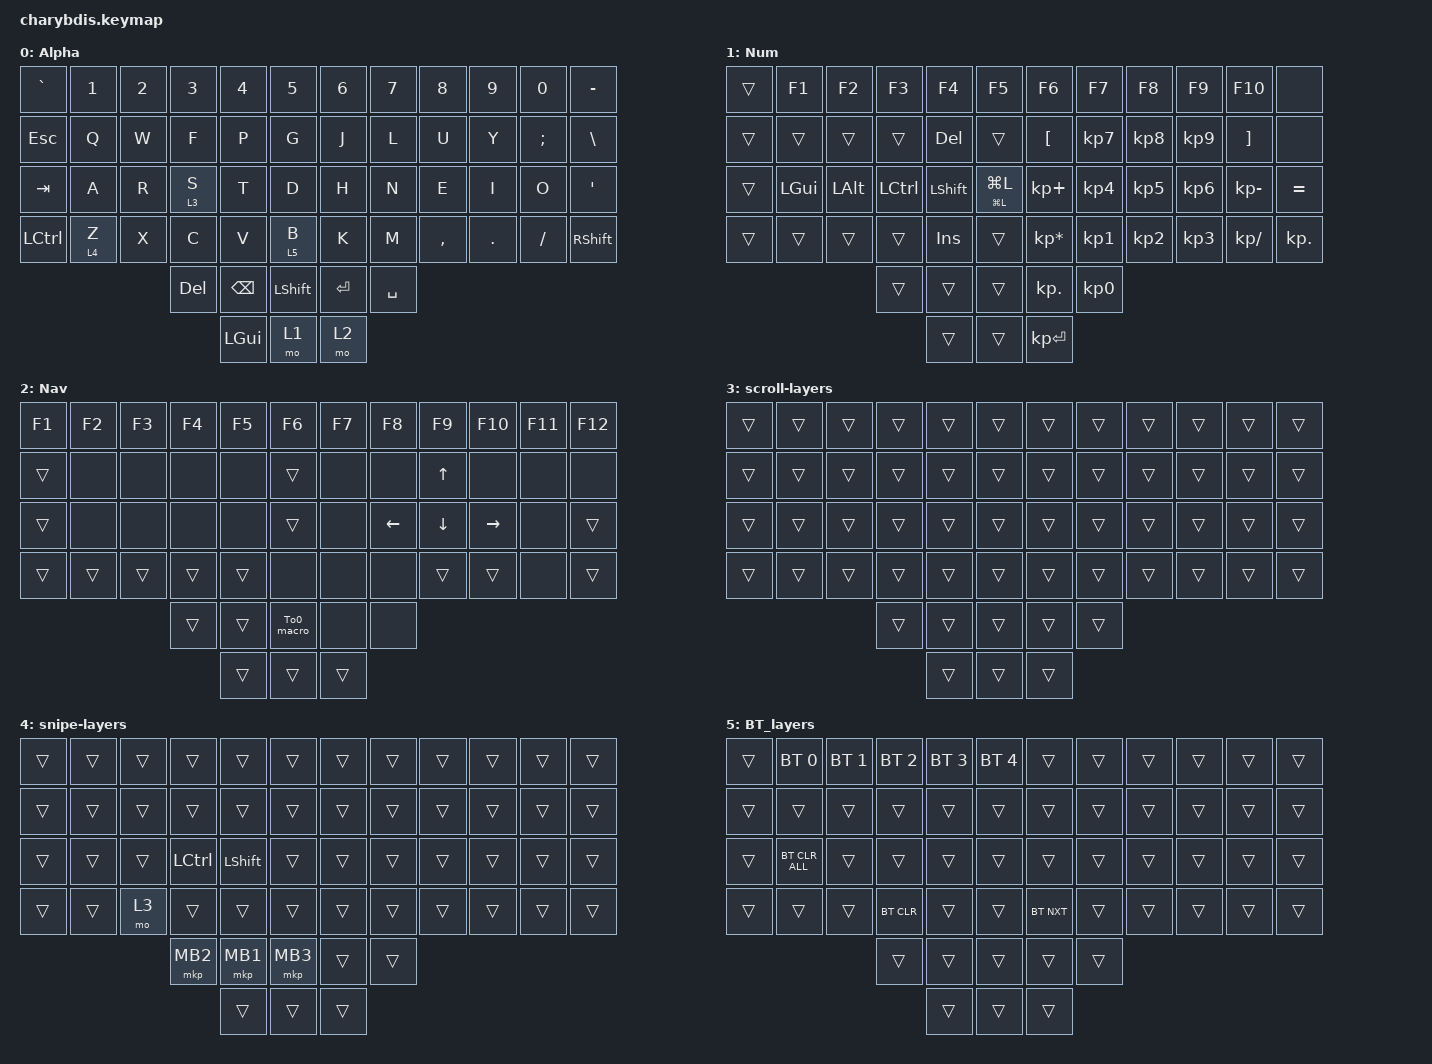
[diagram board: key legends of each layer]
#include <behaviors.dtsi>
#include <dt-bindings/zmk/bt.h>
#include <dt-bindings/zmk/keys.h>
#include <dt-bindings/zmk/pointing.h>
#include <dt-bindings/zmk/rgb.h>

&lt {
    tapping-term-ms = <200>;
    flavor = "balanced";
    quick-tap-ms = <150>;
};

/ {
    macros {
        To1_macro: To1_macro {
            compatible = "zmk,behavior-macro";
            label = "To1_macro";
            #binding-cells = <0>;
            bindings = <&rgb_ug RGB_EFF &rgb_ug RGB_COLOR_HSB(128,100,50) &to 2>;
        };

        To0_macro: To0_macro {
            compatible = "zmk,behavior-macro";
            label = "To0_macro";
            #binding-cells = <0>;
            bindings = <&rgb_ug RGB_EFR &to 0>;
        };

        To2_macro: To2_macro {
            compatible = "zmk,behavior-macro";
            label = "To2_macro";
            #binding-cells = <0>;
            bindings =
                <&to 5>,
                <&macro_wait_time 30>,
                <&rgb_ug RGB_COLOR_HSB(250,100,50)>;
        };
    };

    keymap {
        compatible = "zmk,keymap";

        Alpha {
            bindings = <
&kp GRAVE  &kp N1   &kp N2  &kp N3   &kp N4         &kp N5            &kp N6     &kp N7     &kp N8     &kp N9   &kp N0         &kp MINUS
&kp ESC    &kp Q    &kp W   &kp F    &kp P          &kp G             &kp J      &kp L      &kp U      &kp Y    &kp SEMICOLON  &kp BSLH
&kp TAB    &kp A    &kp R   &lt 3 S  &kp T          &kp D             &kp H      &kp N      &kp E      &kp I    &kp O          &kp APOS
&kp LCTRL  &lt 4 Z  &kp X   &kp C    &kp V          &lt 5 B           &kp K      &kp M      &kp COMMA  &kp DOT  &kp FSLH       &kp RIGHT_SHIFT
                            &kp DEL  &kp BACKSPACE  &kp LEFT_SHIFT    &kp ENTER  &kp SPACE
                                     &kp LEFT_GUI   &mo 1             &mo 2
            >;
        };

        Num {
            bindings = <
&trans  &kp F1        &kp F2        &kp F3     &kp F4          &kp F5             &kp F6            &kp F7           &kp F8           &kp F9           &kp F10            &none
&trans  &trans        &trans        &trans     &kp DELETE      &trans             &kp LEFT_BRACKET  &kp KP_NUMBER_7  &kp KP_NUMBER_8  &kp KP_NUMBER_9  &kp RIGHT_BRACKET  &none
&trans  &kp LEFT_GUI  &kp LEFT_ALT  &kp LCTRL  &kp LEFT_SHIFT  &mt LG(L) LG(L)    &kp KP_PLUS       &kp KP_NUMBER_4  &kp KP_NUMBER_5  &kp KP_NUMBER_6  &kp KP_MINUS       &kp EQUAL
&trans  &trans        &trans        &trans     &kp INSERT      &trans             &kp KP_ASTERISK   &kp KP_NUMBER_1  &kp KP_NUMBER_2  &kp KP_NUMBER_3  &kp KP_SLASH       &kp KP_DOT
                                    &trans     &trans          &trans             &kp KP_DOT        &kp KP_N0
                                               &trans          &trans             &kp KP_ENTER
            >;
        };

        Nav {
            bindings = <
&kp F1  &kp F2  &kp F3  &kp F4  &kp F5  &kp F6        &kp F7  &kp F8    &kp F9        &kp F10    &kp F11  &kp F12
&trans  &none   &none   &none   &none   &trans        &none   &none     &kp UP_ARROW  &none      &none    &none
&trans  &none   &none   &none   &none   &trans        &none   &kp LEFT  &kp DOWN      &kp RIGHT  &none    &trans
&trans  &trans  &trans  &trans  &trans  &none         &none   &none     &trans        &trans     &none    &trans
                        &trans  &trans  &To0_macro    &none   &none
                                &trans  &trans        &trans
            >;
        };

        scroll-layers {
            bindings = <
&trans  &trans  &trans  &trans  &trans  &trans    &trans  &trans  &trans  &trans  &trans  &trans
&trans  &trans  &trans  &trans  &trans  &trans    &trans  &trans  &trans  &trans  &trans  &trans
&trans  &trans  &trans  &trans  &trans  &trans    &trans  &trans  &trans  &trans  &trans  &trans
&trans  &trans  &trans  &trans  &trans  &trans    &trans  &trans  &trans  &trans  &trans  &trans
                        &trans  &trans  &trans    &trans  &trans
                                &trans  &trans    &trans
            >;
        };

        snipe-layers {
            bindings = <
&trans  &trans  &trans  &trans     &trans          &trans      &trans  &trans  &trans  &trans  &trans  &trans
&trans  &trans  &trans  &trans     &trans          &trans      &trans  &trans  &trans  &trans  &trans  &trans
&trans  &trans  &trans  &kp LCTRL  &kp LEFT_SHIFT  &trans      &trans  &trans  &trans  &trans  &trans  &trans
&trans  &trans  &mo 3   &trans     &trans          &trans      &trans  &trans  &trans  &trans  &trans  &trans
                        &mkp MB2   &mkp MB1        &mkp MB3    &trans  &trans
                                   &trans          &trans      &trans
            >;
        };

        BT_layers {
            bindings = <
&trans  &bt BT_SEL 0    &bt BT_SEL 1  &bt BT_SEL 2  &bt BT_SEL 3  &bt BT_SEL 4    &trans      &trans  &trans  &trans  &trans  &trans
&trans  &trans          &trans        &trans        &trans        &trans          &trans      &trans  &trans  &trans  &trans  &trans
&trans  &bt BT_CLR_ALL  &trans        &trans        &trans        &trans          &trans      &trans  &trans  &trans  &trans  &trans
&trans  &trans          &trans        &bt BT_CLR    &trans        &trans          &bt BT_NXT  &trans  &trans  &trans  &trans  &trans
                                      &trans        &trans        &trans          &trans      &trans
                                                    &trans        &trans          &trans
            >;
        };
    };
};
